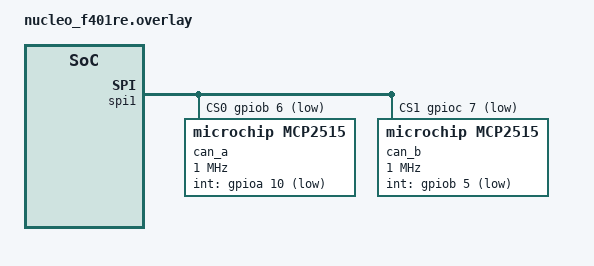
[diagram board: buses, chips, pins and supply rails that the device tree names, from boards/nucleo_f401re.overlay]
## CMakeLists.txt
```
# SPDX-License-Identifier: Apache-2.0

cmake_minimum_required(VERSION 3.20.0)


find_package(Zephyr REQUIRED HINTS $ENV{ZEPHYR_BASE})
project(counter)

target_sources(app PRIVATE src/main.c)
```

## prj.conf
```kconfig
CONFIG_GPIO=y
CONFIG_SPI=y
CONFIG_CAN=y
CONFIG_PRINTK=y
CONFIG_LOG=y
```

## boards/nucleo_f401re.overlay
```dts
/ {
	aliases {
		can-a = &can_a;
		can-b = &can_b;
	};
};

&spi1 {
	status = "okay";
	/* index 0 = CAN A on D10 (PB6), index 1 = CAN B on D9 (PC7) */
	cs-gpios = <&gpiob 6 (GPIO_ACTIVE_LOW | GPIO_PULL_UP)>,
		   <&gpioc 7 (GPIO_ACTIVE_LOW | GPIO_PULL_UP)>;

	can_a: mcp2515@0 {
		compatible = "microchip,mcp2515";
		reg = <0>;
		spi-max-frequency = <1000000>;
		int-gpios = <&gpioa 10 GPIO_ACTIVE_LOW>;  /* D2 */
		osc-freq = <16000000>;                    /* match your crystal */
		bitrate = <500000>;
		status = "okay";
	};

	can_b: mcp2515@1 {
		compatible = "microchip,mcp2515";
		reg = <1>;
		spi-max-frequency = <1000000>;
		int-gpios = <&gpiob 5 GPIO_ACTIVE_LOW>;   /* D4 */
		osc-freq = <16000000>;
		bitrate = <500000>;
		status = "okay";
	};
};
```

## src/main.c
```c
#include <zephyr/kernel.h>
#include <zephyr/device.h>
#include <zephyr/drivers/can.h>
#include <zephyr/sys/printk.h>
#include <string.h>

#define ID_HB_N2 0x04   /* change per node */

static const struct device *const can_dev[2] = {
	DEVICE_DT_GET(DT_NODELABEL(can_a)),
	DEVICE_DT_GET(DT_NODELABEL(can_b)),
};

CAN_MSGQ_DEFINE(rx_q_a, 16);
CAN_MSGQ_DEFINE(rx_q_b, 16);
static struct k_msgq *const rx_q[2] = { &rx_q_a, &rx_q_b };

static uint8_t seq;  /* 4-bit counter, bumped once per message */

static void tx_cb(const struct device *dev, int err, void *arg)
{
	if (err) {
		printk("TX error %d on bus %c\n", err, (int)(intptr_t)arg);
	}
}

/* Queue the same frame on both controllers, bump seq once. */
static void send_both(uint32_t id, uint8_t flags, const uint8_t payload[7])
{
	struct can_frame f = { .id = id, .dlc = 8, .flags = 0 };

	f.data[0] = (flags << 4) | (seq & 0x0F);
	memcpy(&f.data[1], payload, 7);

	for (int i = 0; i < 2; i++) {
		int rc = can_send(can_dev[i], &f, K_MSEC(5), tx_cb,
				  (void *)(intptr_t)('A' + i));
		if (rc) {
			printk("can_send bus %c failed: %d\n", 'A' + i, rc);
		}
		else {
			//printk("can_send bus %c queued id=0x%03x seq=%u\n",
			       //'A' + i, f.id, f.data[0] & 0x0F);
		}
	}
	seq = (seq + 1) & 0x0F;
}

static int can_bringup(int i)
{
	const struct device *dev = can_dev[i];
	/* accept everything for now; tighten to catalog IDs later */
	const struct can_filter any = { .id = 0, .mask = 0, .flags = 0 };
	enum can_state st;
	struct can_bus_err_cnt cnt;
	int rc;

	if (!device_is_ready(dev)) {
		printk("CAN %c not ready\n", 'A' + i);
		return -ENODEV;
	}

	/* Uncomment to test SPI wiring with no bus attached at all: */
	//can_set_mode(dev, CAN_MODE_LOOPBACK); 

	rc = can_start(dev);
	if (rc) {
		printk("can_start %c: %d\n", 'A' + i, rc);
		return rc;
	}

	rc = can_add_rx_filter_msgq(dev, rx_q[i], &any);
	if (rc < 0) {
		printk("add filter %c: %d\n", 'A' + i, rc);
		return rc;
	}

	can_get_state(dev, &st, &cnt);
	printk("CAN %c state=%d tx_err=%u rx_err=%u\n",
	       'A' + i, st, cnt.tx_err_cnt, cnt.rx_err_cnt);
	return 0;
}

int main(void)
{
	for (int i = 0; i < 2; i++) {
		if (can_bringup(i)) {
			return 0;
		}
	}

	uint8_t payload[7] = { 0 };

	while (1) {
		printk("Sending heartbeat seq=%u\n", seq);
		send_both(ID_HB_N2, 0, payload);
		payload[0]++;

		struct can_frame rx;
		for (int i = 0; i < 2; i++) {
			while (k_msgq_get(rx_q[i], &rx, K_NO_WAIT) == 0) {
				printk("RX bus %c id=0x%03x seq=%u b1=%u\n",
				       'A' + i, rx.id, rx.data[0] & 0x0F,
				       rx.data[1]);
			}
		}
		k_sleep(K_MSEC(100));
	}
}
```
